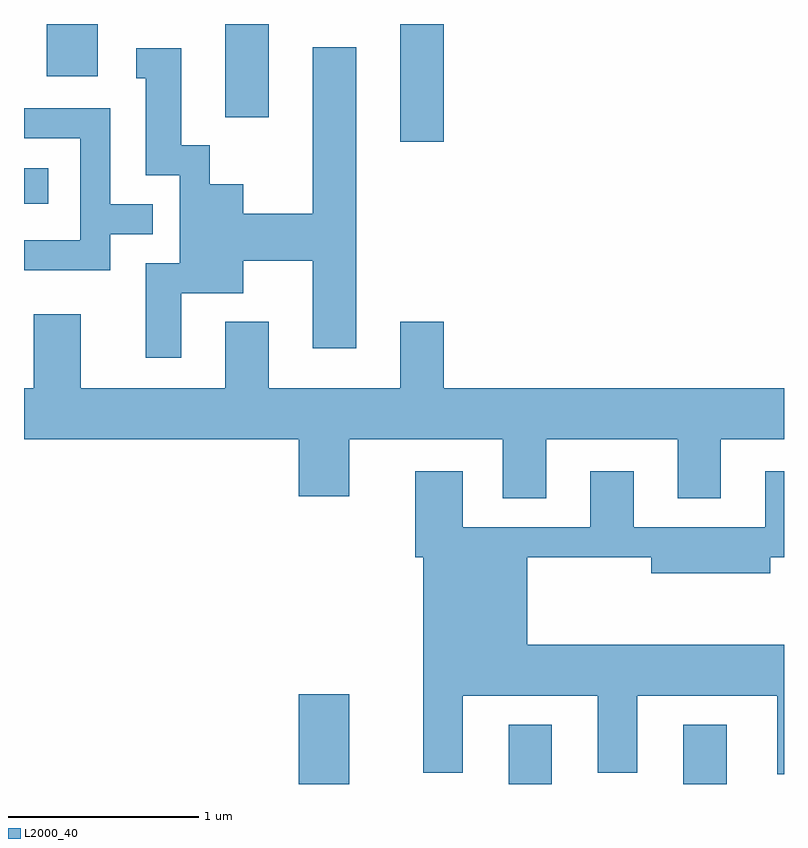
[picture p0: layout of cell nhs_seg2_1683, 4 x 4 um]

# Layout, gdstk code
import gdstk
lib = gdstk.Library(unit=1e-6, precision=1e-09)
def R(c, l, rs):  # rectangles x0, y0, x1, y1
    for r in rs: c.add(gdstk.rectangle(r[:2], r[2:], *l))
def P(c, l, *ps):  # polygons
    for p in ps: c.add(gdstk.Polygon(p, *l))
L2000_40 = (2000, 40)

nhs_seg2_1683 = lib.new_cell('nhs_seg2_1683')
R(nhs_seg2_1683, L2000_40, [(235.056,1079.802,235.324,1080.274), (236.161,1079.802,236.389,1080.114), (237.081,1079.802,237.309,1080.114), (233.611,1082.856,233.739,1083.044), (235.591,1083.181,235.819,1083.802), (234.671,1083.311,234.899,1083.802), (233.731,1083.526,233.999,1083.802)])
P(nhs_seg2_1683, L2000_40, [(234.439,1082.386),(234.764,1082.386),(234.764,1082.556),(235.131,1082.556),(235.131,1082.096),(235.359,1082.096),(235.359,1083.679),(235.131,1083.679),(235.131,1082.804),(234.764,1082.804),(234.764,1082.959),(234.589,1082.959),(234.589,1083.164),(234.439,1083.164),(234.439,1083.674),(234.203,1083.674),(234.203,1083.516),(234.251,1083.516),(234.251,1083.006),(234.431,1083.006),(234.431,1082.544),(234.251,1082.544),(234.251,1082.046),(234.439,1082.046)],
  [(234.064,1082.696),(234.288,1082.696),(234.288,1082.854),(234.064,1082.854),(234.064,1083.359),(233.611,1083.359),(233.611,1083.201),(233.906,1083.201),(233.906,1082.664),(233.611,1082.664),(233.611,1082.506),(234.064,1082.506)],
  [(235.819,1082.234),(235.591,1082.234),(235.591,1081.884),(234.899,1081.884),(234.899,1082.234),(234.671,1082.234),(234.671,1081.884),(233.909,1081.884),(233.909,1082.274),(233.661,1082.274),(233.661,1081.884),(233.611,1081.884),(233.611,1081.616),(235.056,1081.616),(235.056,1081.316),(235.324,1081.316),(235.324,1081.616),(236.131,1081.616),(236.131,1081.306),(236.359,1081.306),(236.359,1081.616),(237.051,1081.616),(237.051,1081.306),(237.279,1081.306),(237.279,1081.616),(237.611,1081.616),(237.611,1081.884),(235.819,1081.884)],
  [(237.611,1080.534),(236.259,1080.534),(236.259,1080.996),(236.911,1080.996),(236.911,1080.911),(237.539,1080.911),(237.539,1080.996),(237.611,1080.996),(237.611,1081.449),(237.511,1081.449),(237.511,1081.154),(236.819,1081.154),(236.819,1081.449),(236.591,1081.449),(236.591,1081.154),(235.919,1081.154),(235.919,1081.449),(235.671,1081.449),(235.671,1080.996),(235.711,1080.996),(235.711,1079.861),(235.919,1079.861),(235.919,1080.266),(236.631,1080.266),(236.631,1079.861),(236.839,1079.861),(236.839,1080.266),(237.576,1080.266),(237.576,1079.853),(237.611,1079.853)])

lib.write_gds('nhs_seg2_1683.gds')
